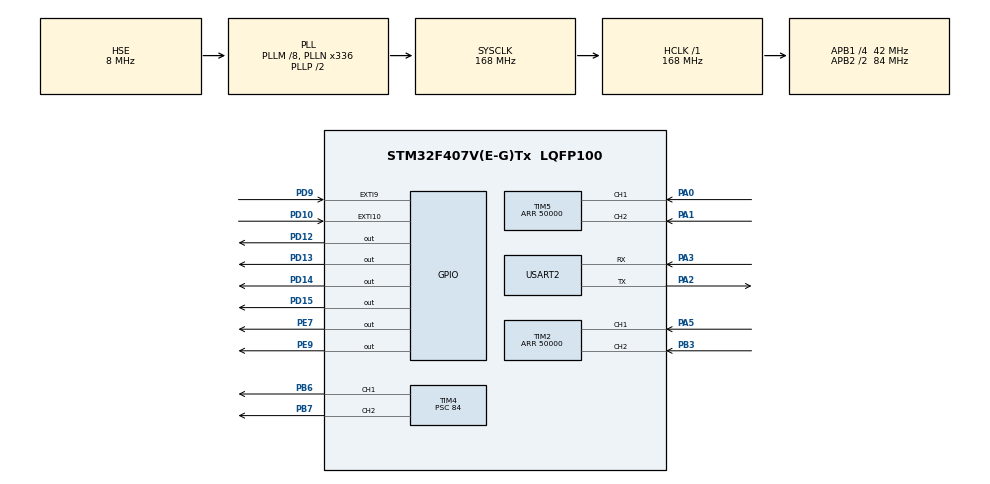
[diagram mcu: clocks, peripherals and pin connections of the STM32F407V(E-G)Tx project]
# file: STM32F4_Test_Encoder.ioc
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Dma.Request0=USART2_RX
Dma.Request1=USART2_TX
Dma.USART2_RX.0.Direction=DMA_PERIPH_TO_MEMORY
Dma.USART2_RX.0.FIFOMode=DMA_FIFOMODE_DISABLE
Dma.USART2_RX.0.Instance=DMA1_Stream5
Dma.USART2_RX.0.MemDataAlignment=DMA_MDATAALIGN_BYTE
Dma.USART2_RX.0.MemInc=DMA_MINC_ENABLE
Dma.USART2_RX.0.Mode=DMA_CIRCULAR
Dma.USART2_RX.0.PeriphDataAlignment=DMA_PDATAALIGN_BYTE
Dma.USART2_RX.0.PeriphInc=DMA_PINC_DISABLE
Dma.USART2_RX.0.Priority=DMA_PRIORITY_LOW
Dma.USART2_TX.1.Direction=DMA_MEMORY_TO_PERIPH
Dma.USART2_TX.1.FIFOMode=DMA_FIFOMODE_DISABLE
Dma.USART2_TX.1.Instance=DMA1_Stream6
Dma.USART2_TX.1.MemDataAlignment=DMA_MDATAALIGN_BYTE
Dma.USART2_TX.1.MemInc=DMA_MINC_ENABLE
Dma.USART2_TX.1.Mode=DMA_NORMAL
Dma.USART2_TX.1.PeriphDataAlignment=DMA_PDATAALIGN_BYTE
Dma.USART2_TX.1.PeriphInc=DMA_PINC_DISABLE
Dma.USART2_TX.1.Priority=DMA_PRIORITY_LOW
Mcu.Family=STM32F4
Mcu.Name=STM32F407V(E-G)Tx
Mcu.Package=LQFP100
NVIC.DMA1_Stream5_IRQn=true\:0\:0\:false\:false\:true\:false
NVIC.DMA1_Stream6_IRQn=true\:0\:0\:false\:false\:true\:false
NVIC.PriorityGroup=NVIC_PRIORITYGROUP_4
NVIC.TIM3_IRQn=true\:0\:0\:true\:false\:true\:true
NVIC.USART2_IRQn=true\:0\:0\:true\:false\:true\:true
PA0-WKUP.GPIO_ModeDefaultPP=GPIO_MODE_AF_PP
PA0-WKUP.GPIO_PuPd=GPIO_PULLUP
PA0-WKUP.GPIO_Speed=GPIO_SPEED_FREQ_HIGH
PA0-WKUP.Signal=S_TIM5_CH1
PA1.GPIO_ModeDefaultPP=GPIO_MODE_AF_PP
PA1.GPIO_PuPd=GPIO_PULLUP
PA1.GPIO_Speed=GPIO_SPEED_FREQ_HIGH
PA1.Signal=S_TIM5_CH2
PA2.Mode=Asynchronous
PA2.Signal=USART2_TX
PA3.Mode=Asynchronous
PA3.Signal=USART2_RX
PA5.GPIO_ModeDefaultPP=GPIO_MODE_AF_PP
PA5.GPIO_PuPd=GPIO_PULLUP
PA5.GPIO_Speed=GPIO_SPEED_FREQ_HIGH
PA5.Signal=S_TIM2_CH1_ETR
PB3.GPIO_ModeDefaultPP=GPIO_MODE_AF_PP
PB3.GPIO_PuPd=GPIO_PULLUP
PB3.GPIO_Speed=GPIO_SPEED_FREQ_HIGH
PB3.Signal=S_TIM2_CH2
PB6.GPIO_Speed=GPIO_SPEED_FREQ_VERY_HIGH
PB6.Signal=S_TIM4_CH1
PB7.GPIO_Speed=GPIO_SPEED_FREQ_VERY_HIGH
PB7.Signal=S_TIM4_CH2
PD10.Signal=GPXTI10
PD12.GPIO_Speed=GPIO_SPEED_FREQ_VERY_HIGH
PD12.Signal=GPIO_Output
PD13.Signal=GPIO_Output
PD14.GPIO_Speed=GPIO_SPEED_FREQ_VERY_HIGH
PD14.Signal=GPIO_Output
PD15.GPIO_Speed=GPIO_SPEED_FREQ_VERY_HIGH
PD15.Signal=GPIO_Output
PD9.GPIO_ModeDefaultEXTI=GPIO_MODE_IT_RISING
PD9.Signal=GPXTI9
PE7.GPIO_ModeDefaultOutputPP=GPIO_MODE_OUTPUT_PP
PE7.GPIO_PuPd=GPIO_NOPULL
PE7.GPIO_Speed=GPIO_SPEED_FREQ_HIGH
PE7.PinState=GPIO_PIN_RESET
PE7.Signal=GPIO_Output
PE9.GPIO_ModeDefaultOutputPP=GPIO_MODE_OUTPUT_PP
PE9.GPIO_PuPd=GPIO_NOPULL
PE9.GPIO_Speed=GPIO_SPEED_FREQ_HIGH
PE9.PinState=GPIO_PIN_RESET
PE9.Signal=GPIO_Output
PH0-OSC_IN.Mode=HSE-External-Oscillator
PH0-OSC_IN.Signal=RCC_OSC_IN
PH1-OSC_OUT.Mode=HSE-External-Oscillator
PH1-OSC_OUT.Signal=RCC_OSC_OUT
ProjectManager.HeapSize=0x200
ProjectManager.StackSize=0x400
ProjectManager.TargetToolchain=MDK-ARM V5
RCC.48MHZClocksFreq_Value=84000000
RCC.AHBFreq_Value=168000000
RCC.APB1CLKDivider=RCC_HCLK_DIV4
RCC.APB1Freq_Value=42000000
RCC.APB1TimFreq_Value=84000000
RCC.APB2CLKDivider=RCC_HCLK_DIV2
RCC.APB2Freq_Value=84000000
RCC.APB2TimFreq_Value=168000000
RCC.CortexFreq_Value=168000000
RCC.HCLKFreq_Value=168000000
RCC.HSE_VALUE=8000000
RCC.HSI_VALUE=16000000
RCC.LSE_VALUE=32768
RCC.PLLM=8
RCC.PLLN=336
RCC.PLLSourceVirtual=RCC_PLLSOURCE_HSE
RCC.SYSCLKFreq_VALUE=168000000
RCC.SYSCLKSource=RCC_SYSCLKSOURCE_PLLCLK
RCC.VCOOutputFreq_Value=336000000
SH.S_TIM2_CH1_ETR.0=TIM2_CH1,Encoder_Interface
SH.S_TIM2_CH2.0=TIM2_CH2,Encoder_Interface
SH.S_TIM4_CH1.0=TIM4_CH1,PWM Generation1 CH1
SH.S_TIM4_CH2.0=TIM4_CH2,PWM Generation2 CH2
SH.S_TIM5_CH1.0=TIM5_CH1,Encoder_Interface
SH.S_TIM5_CH2.0=TIM5_CH2,Encoder_Interface
TIM2.EncoderMode=TIM_ENCODERMODE_TI12
TIM2.Period=50000
TIM3.Period=39
TIM3.Prescaler=42000
TIM4.Channel-PWM\ Generation1\ CH1=TIM_CHANNEL_1
TIM4.Channel-PWM\ Generation2\ CH2=TIM_CHANNEL_2
TIM4.Period=99
TIM4.Prescaler=84
TIM5.EncoderMode=TIM_ENCODERMODE_TI12
TIM5.Period=50000
USART2.VirtualMode=VM_ASYNC
VP_TIM3_VS_ClockSourceINT.Mode=Internal
VP_TIM4_VS_ClockSourceINT.Mode=Internal
board=STM32F4_Test_Encoder

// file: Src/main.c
/**
  ******************************************************************************
  * File Name          : main.c
  * Description        : Main program body
  ******************************************************************************
  ** This notice applies to any and all portions of this file
  * that are not between comment pairs USER CODE BEGIN and
  * USER CODE END. Other portions of this file, whether
  * inserted by the user or by software development tools
  * are owned by their respective copyright owners.
  *
  * COPYRIGHT(c) 2017 STMicroelectronics
  *
  * Redistribution and use in source and binary forms, with or without modification,
  * are permitted provided that the following conditions are met:
  *   1. Redistributions of source code must retain the above copyright notice,
  *      this list of conditions and the following disclaimer.
  *   2. Redistributions in binary form must reproduce the above copyright notice,
  *      this list of conditions and the following disclaimer in the documentation
  *      and/or other materials provided with the distribution.
  *   3. Neither the name of STMicroelectronics nor the names of its contributors
  *      may be used to endorse or promote products derived from this software
  *      without specific prior written permission.
  *
  * THIS SOFTWARE IS PROVIDED BY THE COPYRIGHT HOLDERS AND CONTRIBUTORS "AS IS"
  * AND ANY EXPRESS OR IMPLIED WARRANTIES, INCLUDING, BUT NOT LIMITED TO, THE
  * IMPLIED WARRANTIES OF MERCHANTABILITY AND FITNESS FOR A PARTICULAR PURPOSE ARE
  * DISCLAIMED. IN NO EVENT SHALL THE COPYRIGHT HOLDER OR CONTRIBUTORS BE LIABLE
  * FOR ANY DIRECT, INDIRECT, INCIDENTAL, SPECIAL, EXEMPLARY, OR CONSEQUENTIAL
  * DAMAGES (INCLUDING, BUT NOT LIMITED TO, PROCUREMENT OF SUBSTITUTE GOODS OR
  * SERVICES; LOSS OF USE, DATA, OR PROFITS; OR BUSINESS INTERRUPTION) HOWEVER
  * CAUSED AND ON ANY THEORY OF LIABILITY, WHETHER IN CONTRACT, STRICT LIABILITY,
  * OR TORT (INCLUDING NEGLIGENCE OR OTHERWISE) ARISING IN ANY WAY OUT OF THE USE
  * OF THIS SOFTWARE, EVEN IF ADVISED OF THE POSSIBILITY OF SUCH DAMAGE.
  *
  ******************************************************************************
  */

#include "main.h"
#include "stm32f4xx_hal.h"

/* USER CODE BEGIN Includes */
#include "PID.h"
#include <stdio.h>
#include <string.h>
#include <stdlib.h>
#define pi      3.141592654
#define MAX_BUF_DATA_RECV   50
/* USER CODE END Includes */

TIM_HandleTypeDef htim2;
TIM_HandleTypeDef htim3;
TIM_HandleTypeDef htim4;
TIM_HandleTypeDef htim5;

UART_HandleTypeDef huart2;
DMA_HandleTypeDef hdma_usart2_rx;
DMA_HandleTypeDef hdma_usart2_tx;

/* USER CODE BEGIN PV */
/* Private variables ---------------------------------------------------------*/
volatile int32_t i16_Counter_Left = 0, i16_Counter_Right = 0;
volatile int32_t i16_Counter_Left_smooth = 0, i16_Counter_Right_smooth = 0;
uint8_t ui8_BufLog[50];
uint8_t idx_uart = 0;
uint8_t write_idx = 0, read_idx = 0;
uint16_t u16_avail_byte = 0;

float f_Pulse_Target_Left = 0, f_Pulse_Target_Right = 0, f_Pulse_Target_temp;
float f_Error_Left, f_Error_Right;
float f_PIDResult_Left, f_PIDResult_Right;
float f_PIDScale_Left, f_PIDScale_Right;

float f_radius = 0.03;        //metter
float f_length = 0.2;        //metter
uint8_t ui8_dir_bot = 0;    //0: Forward 1:backward
uint8_t ui8_dir_cmd = 0;    //0: Forward 1:backward
uint8_t count_reset = 0;

char* cToken;
int8_t idx_read_buf = 0;
uint8_t idx = 0;
char Rx_indx, Rx_data[2], Rx_Buffer[50], Rx_Buffer_uart[200], Transfer_cplt;

float f_tangent_vel_target =0, f_angular_vel_target=0;  //wc and vc
float f_lwheel_omega_target =0, f_rwheel_omega_target=0;    //wl, wr
float f_lwheel_vec_target =0, f_rwheel_vec_target=0;    //vl, vr
float f_lwheel_omega_enc = 0, f_rwheel_omega_enc = 0;
float f_lwheel_vec_enc = 0, f_rwheel_vec_enc = 0;
float f_tangent_vel_enc =0, f_angular_vel_enc=0;
PID_PARAMETERS PID_ParaMotor_Left = {.Kp = 0.0022, .Kd = 0.0008, .Ki = 0.1,
             .Ts = 0.020, .PID_Saturation = 95, .e_=0, .e__=0, .u_=0};
PID_PARAMETERS PID_ParaMotor_Right = {.Kp = 0.0022, .Kd = 0.0008, .Ki = 0.1,
             .Ts = 0.020, .PID_Saturation = 95, .e_=0, .e__=0, .u_=0};
//PID_PARAMETERS PID_ParaMotor_Right = {.Kp = 0.002, .Kd = 0.008, .Ki = 0.1,
//             .Ts = 0.020, .PID_Saturation = 95, .e_=0, .e__=0, .u_=0};
/* USER CODE END PV */

void SystemClock_Config(void);
static void MX_GPIO_Init(void);
static void MX_DMA_Init(void);
static void MX_USART2_UART_Init(void);
static void MX_TIM4_Init(void);
static void MX_TIM3_Init(void);
static void MX_TIM2_Init(void);
static void MX_TIM5_Init(void);

void HAL_TIM_MspPostInit(TIM_HandleTypeDef *htim);

/* USER CODE BEGIN PFP */
/* Private function prototypes -----------------------------------------------*/

/* USER CODE END PFP */

/* USER CODE BEGIN 0 */
void UART_Log(uint8_t* log)
{
  HAL_UART_Transmit_DMA(&huart2, log, strlen(log));
}

void uart_gets(uint8_t* rec_data)
{
   HAL_UART_Receive_DMA(&huart2, rec_data,1);
}

void uart_puts(uint8_t *str)					//Sends a String to the UART.
{
     uint8_t i= strlen((char*)str);
     HAL_UART_Transmit_DMA(&huart2,str,i);
//     str++;

//     while(*str) uart_putc(*str++);			//Advance though string till end
//     return;
}

void string_to_num()
{
//	HAL_GPIO_TogglePin(GPIOD,GPIO_PIN_14);

    char* cToken_temp;
    if (Rx_Buffer[0]=='[')
    {
    cToken_temp = strtok (Rx_Buffer,"[");
    if (cToken_temp != NULL)
    {
    cToken = strtok (cToken_temp, ",");
    f_tangent_vel_target = atof(cToken);
        if (cToken_temp != NULL)
        {
        cToken = strtok(NULL,"E");
        f_angular_vel_target = atof(cToken);
        }
    }
    }
}

void to_motor_cmd ()
{

//    f_rwheel_vec_target = (2*f_tangent_vel_target + f_angular_vel_target*f_length)/2;
//    f_lwheel_vec_target = (2*f_tangent_vel_target - f_angular_vel_target*f_length)/2;
    f_rwheel_vec_target = (2*f_tangent_vel_target - f_angular_vel_target*f_length)/2;
    f_lwheel_vec_target = (2*f_tangent_vel_target + f_angular_vel_target*f_length)/2;
    f_rwheel_omega_target = f_rwheel_vec_target/f_radius;
    f_lwheel_omega_target = f_lwheel_vec_target/f_radius;
    f_Pulse_Target_Right =  (f_rwheel_omega_target*3250*4*0.02)/(2*pi);   //Tsample=0.02
    f_Pulse_Target_Left =  (f_lwheel_omega_target*3250*4*0.02)/(2*pi);   //Tsample=0.02
}

void encoder_feedback()
{
    f_rwheel_omega_enc = (i16_Counter_Right/(3250*4*0.02))*2*pi;  //Tsample=0.02s
    f_lwheel_omega_enc = (i16_Counter_Left/(3250*4*0.02))*2*pi;  //Tsample=0.02s
    f_rwheel_vec_enc = f_rwheel_omega_enc*f_radius;
    f_lwheel_vec_enc = f_lwheel_omega_enc*f_radius;
//    f_angular_vel_enc = (f_rwheel_vec_enc - f_lwheel_vec_enc)/f_length;
    f_angular_vel_enc = (f_lwheel_vec_enc - f_rwheel_vec_enc)/f_length;
    f_tangent_vel_enc = (f_rwheel_vec_enc + f_lwheel_vec_enc)/2;

//    sprintf((char*) ui8_BufLog,"[%f,%f]",f_tangent_vel_enc, f_angular_vel_enc);
//    UART_Log(ui8_BufLog);
}

//void uart_receive_data ()
//{
//    uint8_t i;
//    if (Rx_indx==0) {for (i=0;i<50;i++) Rx_Buffer[i]=0;}   //clear Rx_Buffer before receiving new data
//    if (Rx_data[idx_uart]=='[')
//    {
//        while (idx_uart<200) //if received data different from ascii 13 (enter)
//        {
//            Rx_Buffer[Rx_indx++]=Rx_data[idx_uart++];    //add data to Rx_Buffer
//        if (Rx_data[idx_uart]==']')             //if received data = 13
//        {
//            Rx_Buffer[Rx_indx]='E';
//            Rx_indx=0;
//            idx_uart++;
//            Transfer_cplt=1;//transfer complete, data is ready to read
//            string_to_num();
//            //convert
//            to_motor_cmd();     //de duoi phan set PWM
//            break;
//        }
//        if(idx_uart == 200)
//        {
//            idx_uart = 0;
//        }
//        }
//	 }
//}

void uart_receive_data ()
{
    if (u16_avail_byte>0)
    {
    while (Rx_Buffer_uart[read_idx++] != ']')
    {
        if (Rx_Buffer_uart[read_idx] == '[')
        {
            idx = 0;
            continue;
        }
        if (read_idx != write_idx)
        {
            Rx_Buffer[idx] = Rx_Buffer_uart[read_idx];
            idx++;      //con tro cho mang buffer
        }
        if (read_idx == 200)
        {
            read_idx = 0;
        }
        if (u16_avail_byte)
        {
            u16_avail_byte--;
        }
    }
    }
    string_to_num();
    to_motor_cmd();
}

void HAL_TIM_PeriodElapsedCallback(TIM_HandleTypeDef *htim)
{
  if(htim->Instance == htim3.Instance)
  {
//    uint8_t ui8_dir_bot = __HAL_TIM_IS_TIM_COUNTING_DOWN(&htim2) & __HAL_TIM_IS_TIM_COUNTING_DOWN(&htim5);
    i16_Counter_Left = TIM2->CNT;
    i16_Counter_Right = TIM5->CNT;

    if (i16_Counter_Left>30000)
    {
        i16_Counter_Left = i16_Counter_Left - 50000;
    }
    if (i16_Counter_Right>30000)
    {
        i16_Counter_Right = i16_Counter_Right - 50000;
    }
    __HAL_TIM_SetCounter(&htim2, 0);
    __HAL_TIM_SetCounter(&htim5, 0);

    //count reset
    if (count_reset >= 100)
    {
        HAL_GPIO_WritePin (GPIOE, GPIO_PIN_7 | GPIO_PIN_9,1);
    }
    else
    {
        count_reset++;
    }

    //filter
//    i16_Counter_Left_k_1 = i16_Counter_Left_k + (uint32_t)(0.9*(i16_Counter_Left-i16_Counter_Left_k));
    i16_Counter_Left_smooth = i16_Counter_Left_smooth + (0.2*(i16_Counter_Left-i16_Counter_Left_smooth));
    i16_Counter_Right_smooth = i16_Counter_Right_smooth + (0.2*(i16_Counter_Right-i16_Counter_Right_smooth));
    i16_Counter_Left = i16_Counter_Left_smooth;
    i16_Counter_Right = i16_Counter_Right_smooth;
    //end filter
    //uart
    uart_receive_data();
    //end uart
    f_Error_Left = f_Pulse_Target_Left - (float)i16_Counter_Left;
    f_PIDResult_Left = pid_process(&PID_ParaMotor_Left, f_Error_Left);

    f_Error_Right = f_Pulse_Target_Right - (float)i16_Counter_Right;
    f_PIDResult_Right = pid_process(&PID_ParaMotor_Right, f_Error_Right);

//    f_PIDScale_Left = (f_PIDResult_Left + 100)/2;
//    f_PIDScale_Right = (f_PIDResult_Right + 100)/2;

    __HAL_TIM_SET_COMPARE(&htim4, TIM_CHANNEL_1, (int8_t)f_PIDScale_Left);
    __HAL_TIM_SET_COMPARE(&htim4, TIM_CHANNEL_2, (int8_t)f_PIDScale_Left);

    //feedback
    encoder_feedback();
//    sprintf((char*) ui8_BufLog,"%f \t %d \t %f \t %d \t %d \n\r",f_Pulse_Target_Left, i16_Counter_Left,f_Pulse_Target_Right, i16_Counter_Right,ui8_dir_bot);
//     sprintf((char*) ui8_BufLog,"%f \t %f\n\r",f_tangent_vel_target, f_angular_vel_target);
//    sprintf((char*) ui8_BufLog,"%f \t %d \t %f \t %d\n\r",f_Pulse_Target_Left, i16_Counter_Left,f_Pulse_Target_Right, i16_Counter_Right);
    //sprintf((char*) ui8_BufLog,"%d \t %d \t %d \t %d\n\r", i16_counter, (int16_t)f_Error_Left, (int16_t)f_PIDResult_Left, (int16_t)f_PIDScale_Left);
//    UART_Log(ui8_BufLog);

  }
}

void HAL_UART_RxCpltCallback(UART_HandleTypeDef *huart)
{
	if(huart->Instance==huart2.Instance)
	{
        Rx_Buffer_uart[write_idx] = Rx_data[0];
        write_idx++;
        u16_avail_byte++;
        if (write_idx == 200)
        {
            write_idx = 0;
        }
    }
}

/* USER CODE END 0 */

int main(void)
{

  /* MCU Configuration----------------------------------------------------------*/

  /* Reset of all peripherals, Initializes the Flash interface and the Systick. */
  HAL_Init();

  /* Configure the system clock */
  SystemClock_Config();

  /* Initialize all configured peripherals */
  MX_GPIO_Init();
  MX_DMA_Init();
  MX_USART2_UART_Init();
  MX_TIM4_Init();
  MX_TIM3_Init();
  MX_TIM2_Init();
  MX_TIM5_Init();

  /* USER CODE BEGIN 2 */
  HAL_TIM_Base_Start_IT(&htim3);
  HAL_TIM_PWM_Start(&htim4, TIM_CHANNEL_1);
  HAL_TIM_PWM_Start(&htim4, TIM_CHANNEL_2);
  HAL_TIM_Encoder_Start(&htim2,TIM_CHANNEL_ALL);
  HAL_TIM_Encoder_Start(&htim5,TIM_CHANNEL_ALL);
  uart_gets(Rx_data);
  /* USER CODE END 2 */

  /* Infinite loop */
  /* USER CODE BEGIN WHILE */
//      f_tangent_vel_target =0.4;
//      f_angular_vel_target=0.2;
//    __HAL_TIM_SET_COMPARE(&htim4, TIM_CHANNEL_1, 65);
//    __HAL_TIM_SET_COMPARE(&htim4, TIM_CHANNEL_2, 65);
  while (1)
  {
  /* USER CODE END WHILE */

  /* USER CODE BEGIN 3 */

//    HAL_Delay(20);
  }
  /* USER CODE END 3 */

}

/** System Clock Configuration
*/
void SystemClock_Config(void)
{

  RCC_OscInitTypeDef RCC_OscInitStruct;
  RCC_ClkInitTypeDef RCC_ClkInitStruct;

    /**Configure the main internal regulator output voltage
    */
  __HAL_RCC_PWR_CLK_ENABLE();

  __HAL_PWR_VOLTAGESCALING_CONFIG(PWR_REGULATOR_VOLTAGE_SCALE1);

    /**Initializes the CPU, AHB and APB busses clocks
    */
  RCC_OscInitStruct.OscillatorType = RCC_OSCILLATORTYPE_HSE;
  RCC_OscInitStruct.HSEState = RCC_HSE_ON;
  RCC_OscInitStruct.PLL.PLLState = RCC_PLL_ON;
  RCC_OscInitStruct.PLL.PLLSource = RCC_PLLSOURCE_HSE;
  RCC_OscInitStruct.PLL.PLLM = 8;
  RCC_OscInitStruct.PLL.PLLN = 336;
  RCC_OscInitStruct.PLL.PLLP = RCC_PLLP_DIV2;
  RCC_OscInitStruct.PLL.PLLQ = 4;
  if (HAL_RCC_OscConfig(&RCC_OscInitStruct) != HAL_OK)
  {
    _Error_Handler(__FILE__, __LINE__);
  }

    /**Initializes the CPU, AHB and APB busses clocks
    */
  RCC_ClkInitStruct.ClockType = RCC_CLOCKTYPE_HCLK|RCC_CLOCKTYPE_SYSCLK
                              |RCC_CLOCKTYPE_PCLK1|RCC_CLOCKTYPE_PCLK2;
  RCC_ClkInitStruct.SYSCLKSource = RCC_SYSCLKSOURCE_PLLCLK;
  RCC_ClkInitStruct.AHBCLKDivider = RCC_SYSCLK_DIV1;
  RCC_ClkInitStruct.APB1CLKDivider = RCC_HCLK_DIV4;
  RCC_ClkInitStruct.APB2CLKDivider = RCC_HCLK_DIV2;

  if (HAL_RCC_ClockConfig(&RCC_ClkInitStruct, FLASH_LATENCY_5) != HAL_OK)
  {
    _Error_Handler(__FILE__, __LINE__);
  }

    /**Configure the Systick interrupt time
    */
  HAL_SYSTICK_Config(HAL_RCC_GetHCLKFreq()/1000);

    /**Configure the Systick
    */
  HAL_SYSTICK_CLKSourceConfig(SYSTICK_CLKSOURCE_HCLK);

  /* SysTick_IRQn interrupt configuration */
  HAL_NVIC_SetPriority(SysTick_IRQn, 0, 0);
}

/* TIM2 init function */
static void MX_TIM2_Init(void)
{

  TIM_Encoder_InitTypeDef sConfig;
  TIM_MasterConfigTypeDef sMasterConfig;

  htim2.Instance = TIM2;
  htim2.Init.Prescaler = 0;
  htim2.Init.CounterMode = TIM_COUNTERMODE_UP;
  htim2.Init.Period = 50000;
  htim2.Init.ClockDivision = TIM_CLOCKDIVISION_DIV1;
  sConfig.EncoderMode = TIM_ENCODERMODE_TI12;
  sConfig.IC1Polarity = TIM_ICPOLARITY_RISING;
  sConfig.IC1Selection = TIM_ICSELECTION_DIRECTTI;
  sConfig.IC1Prescaler = TIM_ICPSC_DIV1;
  sConfig.IC1Filter = 0;
  sConfig.IC2Polarity = TIM_ICPOLARITY_RISING;
  sConfig.IC2Selection = TIM_ICSELECTION_DIRECTTI;
  sConfig.IC2Prescaler = TIM_ICPSC_DIV1;
  sConfig.IC2Filter = 0;
  if (HAL_TIM_Encoder_Init(&htim2, &sConfig) != HAL_OK)
  {
    _Error_Handler(__FILE__, __LINE__);
  }

  sMasterConfig.MasterOutputTrigger = TIM_TRGO_RESET;
  sMasterConfig.MasterSlaveMode = TIM_MASTERSLAVEMODE_DISABLE;
  if (HAL_TIMEx_MasterConfigSynchronization(&htim2, &sMasterConfig) != HAL_OK)
  {
    _Error_Handler(__FILE__, __LINE__);
  }

}

/* TIM3 init function */
static void MX_TIM3_Init(void)
{

  TIM_ClockConfigTypeDef sClockSourceConfig;
  TIM_MasterConfigTypeDef sMasterConfig;

  htim3.Instance = TIM3;
  htim3.Init.Prescaler = 42000;
  htim3.Init.CounterMode = TIM_COUNTERMODE_UP;
  htim3.Init.Period = 39;
  htim3.Init.ClockDivision = TIM_CLOCKDIVISION_DIV1;
  if (HAL_TIM_Base_Init(&htim3) != HAL_OK)
  {
    _Error_Handler(__FILE__, __LINE__);
  }

  sClockSourceConfig.ClockSource = TIM_CLOCKSOURCE_INTERNAL;
  if (HAL_TIM_ConfigClockSource(&htim3, &sClockSourceConfig) != HAL_OK)
  {
    _Error_Handler(__FILE__, __LINE__);
  }

  sMasterConfig.MasterOutputTrigger = TIM_TRGO_RESET;
  sMasterConfig.MasterSlaveMode = TIM_MASTERSLAVEMODE_DISABLE;
  if (HAL_TIMEx_MasterConfigSynchronization(&htim3, &sMasterConfig) != HAL_OK)
  {
    _Error_Handler(__FILE__, __LINE__);
  }

}

/* TIM4 init function */
static void MX_TIM4_Init(void)
{

  TIM_ClockConfigTypeDef sClockSourceConfig;
  TIM_MasterConfigTypeDef sMasterConfig;
  TIM_OC_InitTypeDef sConfigOC;

  htim4.Instance = TIM4;
  htim4.Init.Prescaler = 84;
  htim4.Init.CounterMode = TIM_COUNTERMODE_UP;
  htim4.Init.Period = 99;
  htim4.Init.ClockDivision = TIM_CLOCKDIVISION_DIV1;
  if (HAL_TIM_Base_Init(&htim4) != HAL_OK)
  {
    _Error_Handler(__FILE__, __LINE__);
  }

  sClockSourceConfig.ClockSource = TIM_CLOCKSOURCE_INTERNAL;
  if (HAL_TIM_ConfigClockSource(&htim4, &sClockSourceConfig) != HAL_OK)
  {
    _Error_Handler(__FILE__, __LINE__);
  }

  if (HAL_TIM_PWM_Init(&htim4) != HAL_OK)
  {
    _Error_Handler(__FILE__, __LINE__);
  }

  sMasterConfig.MasterOutputTrigger = TIM_TRGO_RESET;
  sMasterConfig.MasterSlaveMode = TIM_MASTERSLAVEMODE_DISABLE;
  if (HAL_TIMEx_MasterConfigSynchronization(&htim4, &sMasterConfig) != HAL_OK)
  {
    _Error_Handler(__FILE__, __LINE__);
  }

  sConfigOC.OCMode = TIM_OCMODE_PWM1;
  sConfigOC.Pulse = 0;
  sConfigOC.OCPolarity = TIM_OCPOLARITY_HIGH;
  sConfigOC.OCFastMode = TIM_OCFAST_DISABLE;
  if (HAL_TIM_PWM_ConfigChannel(&htim4, &sConfigOC, TIM_CHANNEL_1) != HAL_OK)
  {
    _Error_Handler(__FILE__, __LINE__);
  }

  if (HAL_TIM_PWM_ConfigChannel(&htim4, &sConfigOC, TIM_CHANNEL_2) != HAL_OK)
  {
    _Error_Handler(__FILE__, __LINE__);
  }

  HAL_TIM_MspPostInit(&htim4);

}

/* TIM5 init function */
static void MX_TIM5_Init(void)
{

  TIM_Encoder_InitTypeDef sConfig;
  TIM_MasterConfigTypeDef sMasterConfig;

  htim5.Instance = TIM5;
  htim5.Init.Prescaler = 0;
  htim5.Init.CounterMode = TIM_COUNTERMODE_UP;
  htim5.Init.Period = 50000;
  htim5.Init.ClockDivision = TIM_CLOCKDIVISION_DIV1;
  sConfig.EncoderMode = TIM_ENCODERMODE_TI12;
  sConfig.IC1Polarity = TIM_ICPOLARITY_RISING;
  sConfig.IC1Selection = TIM_ICSELECTION_DIRECTTI;
  sConfig.IC1Prescaler = TIM_ICPSC_DIV1;
  sConfig.IC1Filter = 0;
  sConfig.IC2Polarity = TIM_ICPOLARITY_RISING;
  sConfig.IC2Selection = TIM_ICSELECTION_DIRECTTI;
  sConfig.IC2Prescaler = TIM_ICPSC_DIV1;
  sConfig.IC2Filter = 0;
  if (HAL_TIM_Encoder_Init(&htim5, &sConfig) != HAL_OK)
  {
    _Error_Handler(__FILE__, __LINE__);
  }

  sMasterConfig.MasterOutputTrigger = TIM_TRGO_RESET;
  sMasterConfig.MasterSlaveMode = TIM_MASTERSLAVEMODE_DISABLE;
  if (HAL_TIMEx_MasterConfigSynchronization(&htim5, &sMasterConfig) != HAL_OK)
  {
    _Error_Handler(__FILE__, __LINE__);
  }

}

/* USART2 init function */
static void MX_USART2_UART_Init(void)
{

  huart2.Instance = USART2;
  huart2.Init.BaudRate = 115200;
  huart2.Init.WordLength = UART_WORDLENGTH_8B;
  huart2.Init.StopBits = UART_STOPBITS_1;
  huart2.Init.Parity = UART_PARITY_NONE;
  huart2.Init.Mode = UART_MODE_TX_RX;
  huart2.Init.HwFlowCtl = UART_HWCONTROL_NONE;
  huart2.Init.OverSampling = UART_OVERSAMPLING_16;
  if (HAL_UART_Init(&huart2) != HAL_OK)
  {
    _Error_Handler(__FILE__, __LINE__);
  }

}

static void MX_DMA_Init(void)
{
  /* DMA controller clock enable */
  __HAL_RCC_DMA1_CLK_ENABLE();

  /* DMA interrupt init */
  /* DMA1_Stream5_IRQn interrupt configuration */
  HAL_NVIC_SetPriority(DMA1_Stream5_IRQn, 0, 0);
  HAL_NVIC_EnableIRQ(DMA1_Stream5_IRQn);
  /* DMA1_Stream6_IRQn interrupt configuration */
  HAL_NVIC_SetPriority(DMA1_Stream6_IRQn, 0, 0);
  HAL_NVIC_EnableIRQ(DMA1_Stream6_IRQn);

}

/** Configure pins as
        * Analog
        * Input
        * Output
        * EVENT_OUT
        * EXTI
*/
static void MX_GPIO_Init(void)
{

  GPIO_InitTypeDef GPIO_InitStruct;

  /* GPIO Ports Clock Enable */
  __HAL_RCC_GPIOH_CLK_ENABLE();
  __HAL_RCC_GPIOA_CLK_ENABLE();
  __HAL_RCC_GPIOE_CLK_ENABLE();
  __HAL_RCC_GPIOD_CLK_ENABLE();
  __HAL_RCC_GPIOB_CLK_ENABLE();

  /*Configure GPIO pin Output Level */
  HAL_GPIO_WritePin(GPIOE, GPIO_PIN_7|GPIO_PIN_9, GPIO_PIN_RESET);

  /*Configure GPIO pin Output Level */
  HAL_GPIO_WritePin(GPIOD, GPIO_PIN_12|GPIO_PIN_13|GPIO_PIN_14|GPIO_PIN_15, GPIO_PIN_RESET);

  /*Configure GPIO pins : PE7 PE9 */
  GPIO_InitStruct.Pin = GPIO_PIN_7|GPIO_PIN_9;
  GPIO_InitStruct.Mode = GPIO_MODE_OUTPUT_PP;
  GPIO_InitStruct.Pull = GPIO_NOPULL;
  GPIO_InitStruct.Speed = GPIO_SPEED_FREQ_HIGH;
  HAL_GPIO_Init(GPIOE, &GPIO_InitStruct);

  /*Configure GPIO pins : PD9 PD10 */
  GPIO_InitStruct.Pin = GPIO_PIN_9|GPIO_PIN_10;
  GPIO_InitStruct.Mode = GPIO_MODE_IT_RISING;
  GPIO_InitStruct.Pull = GPIO_NOPULL;
  HAL_GPIO_Init(GPIOD, &GPIO_InitStruct);

  /*Configure GPIO pins : PD12 PD14 PD15 */
  GPIO_InitStruct.Pin = GPIO_PIN_12|GPIO_PIN_14|GPIO_PIN_15;
  GPIO_InitStruct.Mode = GPIO_MODE_OUTPUT_PP;
  GPIO_InitStruct.Pull = GPIO_NOPULL;
  GPIO_InitStruct.Speed = GPIO_SPEED_FREQ_VERY_HIGH;
  HAL_GPIO_Init(GPIOD, &GPIO_InitStruct);

  /*Configure GPIO pin : PD13 */
  GPIO_InitStruct.Pin = GPIO_PIN_13;
  GPIO_InitStruct.Mode = GPIO_MODE_OUTPUT_PP;
  GPIO_InitStruct.Pull = GPIO_NOPULL;
  GPIO_InitStruct.Speed = GPIO_SPEED_FREQ_LOW;
  HAL_GPIO_Init(GPIOD, &GPIO_InitStruct);

}

void _Error_Handler(char * file, int line)
{
  while(1)
  {
  }
}

/************************ (C) COPYRIGHT STMicroelectronics *****END OF FILE****/
